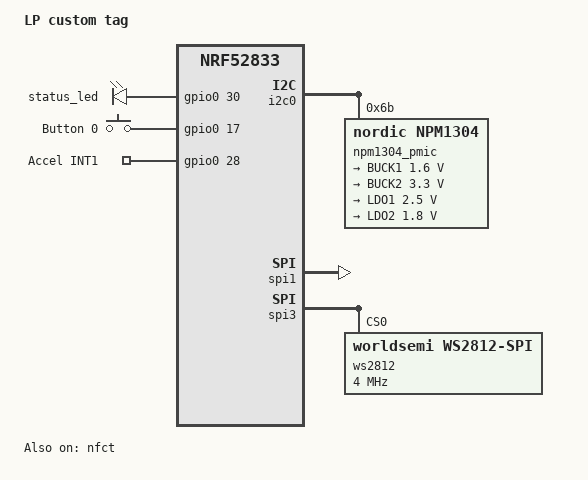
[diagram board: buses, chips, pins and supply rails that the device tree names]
/dts-v1/;
#include <nordic/nrf52833_qdaa.dtsi>
#include <zephyr/dt-bindings/led/led.h>
#include <dt-bindings/regulator/npm13xx.h>
#include "nRF52833_tag-pinctrl.dtsi"

/ {
	model = "LP custom tag";
	compatible = "Innovaforce,nRF52833-tag";

	chosen {
		zephyr,sram = &sram0;
		zephyr,flash = &flash0;
		zephyr,code-partition = &slot0_partition;
	};

	aliases {
		led0 = &status_led;
		led-strip = &ws2812;
		button0 = &user_button;
	};


	leds {
		compatible = "gpio-leds";
		status_led: led_0 {
			gpios = <&gpio0 30 GPIO_ACTIVE_HIGH>;
		};
	};

	buttons {
		compatible = "gpio-keys";
		user_button: button_0 {
			gpios = <&gpio0 17 GPIO_ACTIVE_HIGH>;
			label = "Button 0";
		};
		accel_int: accel_int_0 {
			gpios = <&gpio0 28 GPIO_ACTIVE_HIGH>;
			label = "Accel INT1";
		};
	};
};

&flash0 {
	partitions {
		compatible = "fixed-partitions";
		#address-cells = <1>;
		#size-cells = <1>;

		boot_partition: partition@0 {
			label = "mcuboot";
			reg = <0x00000000 DT_SIZE_K(48)>;
		};

		slot0_partition: partition@c000 {
			label = "image-0";
			reg = <0x0000c000 DT_SIZE_K(220)>;
		};

		slot1_partition: partition@43000 {
			label = "image-1";
			reg = <0x00043000 DT_SIZE_K(220)>;
		};

		storage_partition: partition@7a000 {
			label = "storage";
			reg = <0x0007a000 DT_SIZE_K(24)>;
		};
	};
};

&nfct {
	status = "okay";
};

&gpiote {
	status = "okay";
};

&gpio0 {
	status = "okay";
};

&gpio1 {
	status = "okay";
};

&i2c0 {
	compatible = "nordic,nrf-twim";
	status = "okay";
	pinctrl-0 = <&i2c0_default>;
	pinctrl-1 = <&i2c0_sleep>;
	pinctrl-names = "default", "sleep";
	/* Suspend TWIM0 between transactions (battery sampler, accelerometer
	 * register writes). The driver already brackets every transfer with
	 * pm_device_runtime_get/put; this is what enables it. */
	zephyr,pm-device-runtime-auto;

	/* nPM1304 PMIC. No GPIO lines are wired between the nPM1304 and the
	 * nRF52833, so no host-int-gpios / pmic-int-pin properties are set;
	 * the charger is read by polling only. */
	npm1304_pmic: pmic@6b {
		compatible = "nordic,npm1304";
		reg = <0x6b>;

		regulators {
			compatible = "nordic,npm1304-regulator";

			BUCK1 {
				regulator-min-microvolt = <1600000>;
				regulator-max-microvolt = <1600000>;
				regulator-boot-on;
			};

			BUCK2 {
				regulator-min-microvolt = <3300000>;
				regulator-max-microvolt = <3300000>;
				regulator-boot-on;
			};

			LDO1 {
				regulator-min-microvolt = <2500000>;
				regulator-max-microvolt = <2500000>;
				regulator-initial-mode = <NPM13XX_LDSW_MODE_LDO>;
				regulator-boot-on;
			};

			LDO2 {
				regulator-min-microvolt = <1800000>;
				regulator-max-microvolt = <1800000>;
				regulator-initial-mode = <NPM13XX_LDSW_MODE_LDO>;
				regulator-boot-on;
			};
		};

		/* LED0 drives the charge-status LED on the board. In "charging"
		 * mode the PMIC lights it itself from the charger block, so no
		 * firmware, thread or I2C polling is involved. LED1 and LED2 are
		 * not wired, but the binding requires all three modes; "host"
		 * leaves them software-controlled and dark. */
		npm1304_leds: leds {
			compatible = "nordic,npm1304-led";
			nordic,led0-mode = "charging";
			nordic,led1-mode = "host";
			nordic,led2-mode = "host";
		};

		/* 100 mA into the 400 mAh cell is 0.25C. Revisit current-microamp
		 * when the cell changes.
		 *
		 * thermistor-ohms = 0 disables the NTC because the pad is not
		 * exposed on this PCB, so the PMIC cannot read cell temperature
		 * and charging runs with no thermal cutoff. That is a hardware
		 * constraint, not a missing setting — do not "fix" it here.
		 *
		 * charging-enable is what actually switches the charger on;
		 * without it the block is configured but idle and the battery
		 * current reads 0 mA with VBUS connected. */
		npm1304_charger: charger {
			compatible = "nordic,npm1304-charger";
			charging-enable;
			term-microvolt = <4200000>;
			current-microamp = <100000>;
			vbus-limit-microamp = <500000>;
			thermistor-ohms = <0>;
			thermistor-beta = <0>;
		};
	};
};

&spi1 {
	compatible = "nordic,nrf-spim";
	status = "okay";
	pinctrl-0 = <&spi1_default>;
	pinctrl-1 = <&spi1_sleep>;
	pinctrl-names = "default", "sleep";
	cs-gpios = <&gpio0 11 GPIO_ACTIVE_LOW>;
};

&spi3 {
	compatible = "nordic,nrf-spim";
	status = "okay";
	pinctrl-0 = <&spi3_default>;
	pinctrl-1 = <&spi3_sleep>;
	pinctrl-names = "default", "sleep";
	/* Suspend SPIM3 except during a WS2812 write. The LED is dark in normal
	 * operation, so this bus is idle essentially all the time.
	 * Deliberately NOT applied to &spi1 -- the DW3000 path runs from the
	 * GPIO ISR and must not take suspend/resume there. */
	zephyr,pm-device-runtime-auto;

	ws2812: ws2812@0 {
		compatible = "worldsemi,ws2812-spi";
		reg = <0>;
		spi-max-frequency = <4000000>;
		chain-length = <1>;
		color-mapping = <LED_COLOR_ID_GREEN
				 LED_COLOR_ID_RED
				 LED_COLOR_ID_BLUE>;
		spi-one-frame = <0x70>;
		spi-zero-frame = <0x40>;
	};
};

